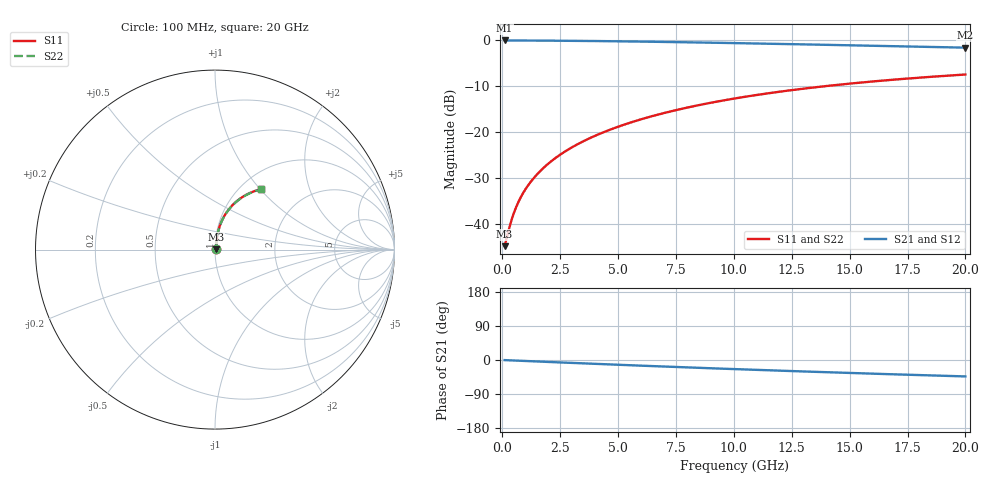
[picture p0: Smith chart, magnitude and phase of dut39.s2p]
! Touchstone file exported from HFSS 2024.1.0
!  File:  C:/UserFiles/LocalFiles/RDL_TSV_Batchsim/temp_RDL_top_39_1778680885.aedt
!  Generated:  10:03:42 PM May 13, 2026
!  Design:  RDL_top
!  Project:  temp_RDL_top_39_1778680885
!  Setup:  Setup1
!  Solution:  Sweep
! Variables:
!  dtsv = 10.80580581um
!  hbump = 3um
!  htsv = 62.54um
!  ldown = 100um
!  lrdl = 585.1um
!  p = 40
!  p1 = 49um
!  rhole = 1um
!  t = 450um
!  tdown = 3.915915916um
!  trdl = 2.18um
!  wdown = 15.38538539um
!  wrdl = 19.02um
# GHz S MA R 50.000000
! Terminal data exported
! Port[1] = Box2_T1
! Port[2] = Box2_T2
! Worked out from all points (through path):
!   200 points, 100 MHz to 20 GHz, reference 50 ohm
!   highest |S21| = -0.05 dB at 100 MHz (marker M1); lowest = -1.6 dB at 20 GHz (marker M2)
!   group delay of S21, straight-line fit = 6 ps
!   lowest |S11| = -44.8 dB at 100 MHz (marker M3), VSWR 1.01, Z = 50.5 + j0.248 ohm
!   |S11| at or under -10 dB: start of sweep to 13.91 GHz
!   |S22| runs from -44.8 to -7.5 dB; largest |S21 - S12| = 5.2e-15
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0.1  0.005783 25.1  0.9948 -0.3  0.9948 -0.3  0.005783 25.1
! Gamma 0 0 0 0
! Port Impedance 50 0 50 0
0.3  0.009105 52.9  0.9945 -0.8  0.9945 -0.8  0.009105 52.9
0.4  0.01115 59.4  0.9943 -1.1  0.9943 -1.1  0.01115 59.4
0.6  0.01541 66.8  0.9938 -1.6  0.9938 -1.6  0.01541 66.8
0.7  0.01755 69.1  0.9936 -1.9  0.9936 -1.9  0.01755 69.1
0.9  0.02185 72.3  0.9931 -2.4  0.9931 -2.4  0.02185 72.3
1.2  0.02833 75.4  0.9923 -3.1  0.9923 -3.1  0.02833 75.3
1.4  0.03268 76.7  0.9918 -3.6  0.9918 -3.6  0.03268 76.7
1.7  0.03926 78.2  0.9909 -4.4  0.9909 -4.4  0.03925 78.1
2.2  0.05035 79.6  0.9892 -5.7  0.9892 -5.7  0.05034 79.5
2.8  0.06385 80.3  0.9867 -7.2  0.9867 -7.2  0.06384 80.3
3.5  0.07985 80.5  0.9833 -8.9  0.9833 -8.9  0.07983 80.5
4.2  0.09607 80.2  0.9792 -10.6  0.9792 -10.6  0.09602 80.2
5  0.1148 79.6  0.974 -12.6  0.974 -12.6  0.1147 79.5
5.9  0.1361 78.5  0.9674 -14.7  0.9674 -14.7  0.136 78.4
6.8  0.1574 77.2  0.9603 -16.8  0.9603 -16.8  0.1573 77.1
8.4  0.1952 74.4  0.9465 -20.5  0.9465 -20.5  0.195 74.3
10.1  0.2344 71.2  0.9306 -24.2  0.9306 -24.2  0.2341 71.2
11.7  0.2699 68.1  0.915 -27.6  0.915 -27.6  0.2695 68.0
13.4  0.3059 64.8  0.8979 -31.0  0.8979 -31.0  0.3054 64.7
16.7  0.3693 58.5  0.8642 -37.4  0.8642 -37.4  0.3687 58.4
20  0.4242 52.5  0.8308 -43.3  0.8308 -43.3  0.4234 52.4
